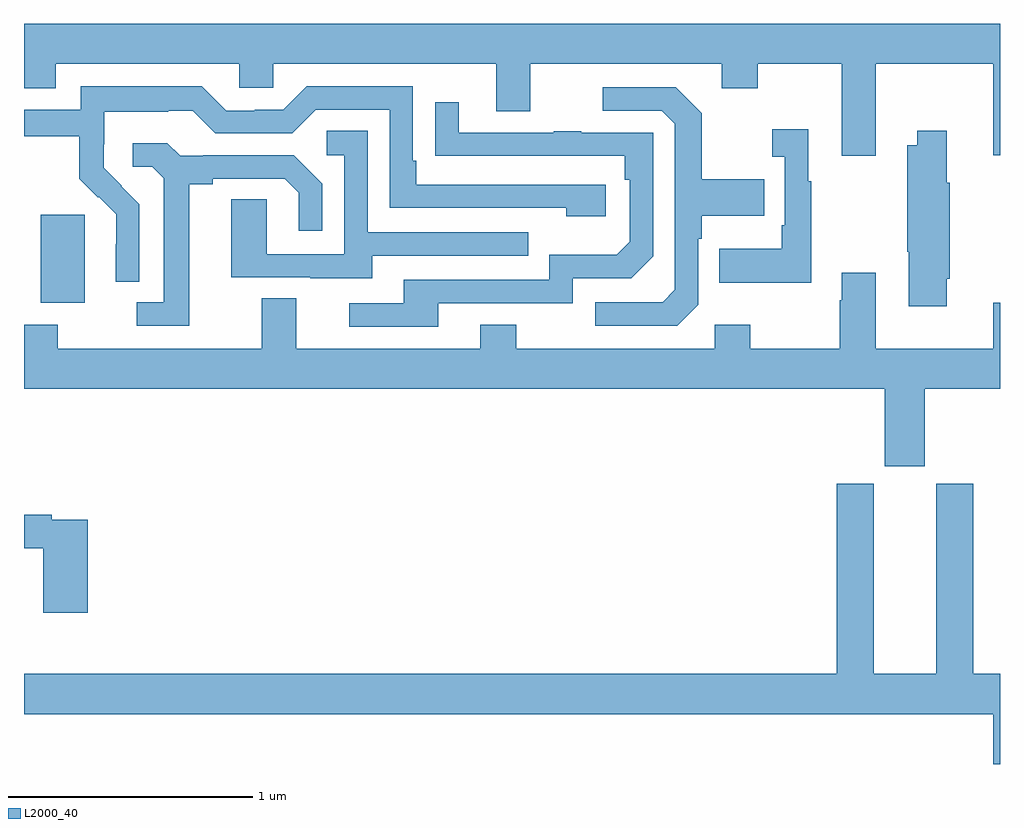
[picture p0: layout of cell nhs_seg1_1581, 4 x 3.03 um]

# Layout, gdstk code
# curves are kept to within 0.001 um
import gdstk
lib = gdstk.Library(unit=1e-6, precision=1e-09)
def R(c, l, rs):  # rectangles x0, y0, x1, y1
    for r in rs: c.add(gdstk.rectangle(r[:2], r[2:], *l))
def P(c, l, *ps):  # polygons
    for p in ps: c.add(gdstk.Polygon(p, *l))
L2000_40 = (2000, 40)

nhs_seg1_1581 = lib.new_cell('nhs_seg1_1581')
R(nhs_seg1_1581, L2000_40, [(197.069,548.09,197.248,548.451)])
P(nhs_seg1_1581, L2000_40, [(197,548.969),(197.131,548.969),(197.131,549.068),(197.883,549.068),(197.883,548.97),(198.021,548.97),(198.021,549.068),(198.935,549.068),(198.935,548.874),(199.075,548.874),(199.075,549.068),(199.859,549.068),(199.859,548.969),(200.007,548.969),(200.007,549.068),(200.351,549.068),(200.351,548.691),(200.491,548.691),(200.491,549.068),(200.972,549.068),(200.972,548.694),(201,548.694),(201,549.232),(197,549.232)],
  [(197.472,548.494),(197.326,548.642),(197.326,548.739),(197.328,548.739),(197.328,548.873),(197.591,548.873),(197.591,548.877),(197.691,548.877),(197.784,548.784),(198.099,548.784),(198.195,548.88),(198.498,548.88),(198.498,548.478),(199.223,548.478),(199.223,548.444),(199.384,548.444),(199.384,548.574),(198.607,548.574),(198.607,548.671),(198.594,548.671),(198.594,548.976),(198.159,548.976),(198.063,548.88),(197.945,548.88),(197.945,548.877),(197.829,548.877),(197.729,548.977),(197.232,548.977),(197.232,548.88),(197,548.88),(197,548.772),(197.227,548.772),(197.227,548.597),(197.304,548.52),(197.307,548.523),(197.378,548.453),(197.378,548.33),(197.376,548.33),(197.376,548.176),(197.472,548.176)],
  [(199.764,548.082),(199.764,548.351),(199.777,548.351),(199.777,548.447),(200.033,548.447),(200.033,548.595),(199.777,548.595),(199.777,548.867),(199.671,548.973),(199.371,548.973),(199.371,548.877),(199.614,548.877),(199.668,548.823),(199.668,548.142),(199.617,548.091),(199.341,548.091),(199.341,547.995),(199.677,547.995)],
  [(198.697,548.088),(199.248,548.088),(199.248,548.19),(199.488,548.19),(199.578,548.28),(199.578,548.787),(199.283,548.787),(199.283,548.792),(199.171,548.792),(199.171,548.787),(198.781,548.787),(198.781,548.911),(198.685,548.911),(198.685,548.692),(199.462,548.691),(199.462,548.594),(199.482,548.594),(199.482,548.34),(199.429,548.287),(199.152,548.287),(199.152,548.184),(198.557,548.184),(198.557,548.088),(198.333,548.088),(198.333,547.992),(198.697,547.992)],
  [(200.227,548.587),(200.215,548.587),(200.215,548.8),(200.067,548.8),(200.067,548.687),(200.118,548.687),(200.118,548.407),(200.106,548.407),(200.106,548.311),(199.849,548.311),(199.849,548.171),(200.227,548.171)],
  [(198.427,548.283),(199.067,548.283),(199.067,548.379),(198.408,548.379),(198.408,548.795),(198.24,548.795),(198.24,548.694),(198.312,548.694),(198.312,548.289),(197.994,548.289),(197.994,548.513),(197.849,548.513),(197.849,548.193),(198.173,548.193),(198.173,548.189),(198.427,548.189)],
  [(200.782,548.188),(200.795,548.188),(200.795,548.581),(200.782,548.581),(200.782,548.794),(200.66,548.794),(200.66,548.734),(200.62,548.734),(200.62,548.299),(200.627,548.299),(200.627,548.076),(200.782,548.076)],
  [(197.677,548.576),(197.773,548.576),(197.773,548.598),(198.068,548.598),(198.125,548.541),(198.125,548.385),(198.222,548.385),(198.222,548.578),(198.106,548.694),(197.734,548.694),(197.734,548.691),(197.64,548.691),(197.588,548.743),(197.445,548.743),(197.445,548.646),(197.526,548.646),(197.573,548.599),(197.573,548.091),(197.463,548.091),(197.463,547.995),(197.677,547.995)],
  [(200.692,547.736),(201,547.736),(201,548.089),(200.972,548.089),(200.972,547.9),(200.491,547.9),(200.491,548.212),(200.351,548.212),(200.351,548.099),(200.344,548.099),(200.344,547.9),(199.977,547.9),(199.977,547.999),(199.83,547.999),(199.83,547.9),(199.017,547.9),(199.017,547.999),(198.869,547.999),(198.869,547.9),(198.115,547.9),(198.115,548.108),(197.975,548.108),(197.975,547.9),(197.139,547.9),(197.139,547.999),(197,547.999),(197,547.736),(200.528,547.736),(200.528,547.419),(200.692,547.419)],
  [(201,546.568),(200.891,546.568),(200.891,547.347),(200.738,547.347),(200.738,546.568),(200.482,546.568),(200.482,547.347),(200.33,547.347),(200.33,546.568),(197,546.568),(197,546.404),(200.972,546.404),(200.972,546.199),(201,546.199)],
  [(197.261,547.2),(197.114,547.2),(197.114,547.22),(197,547.22),(197,547.084),(197.078,547.084),(197.078,546.819),(197.261,546.819)])

lib.write_gds('nhs_seg1_1581.gds')
